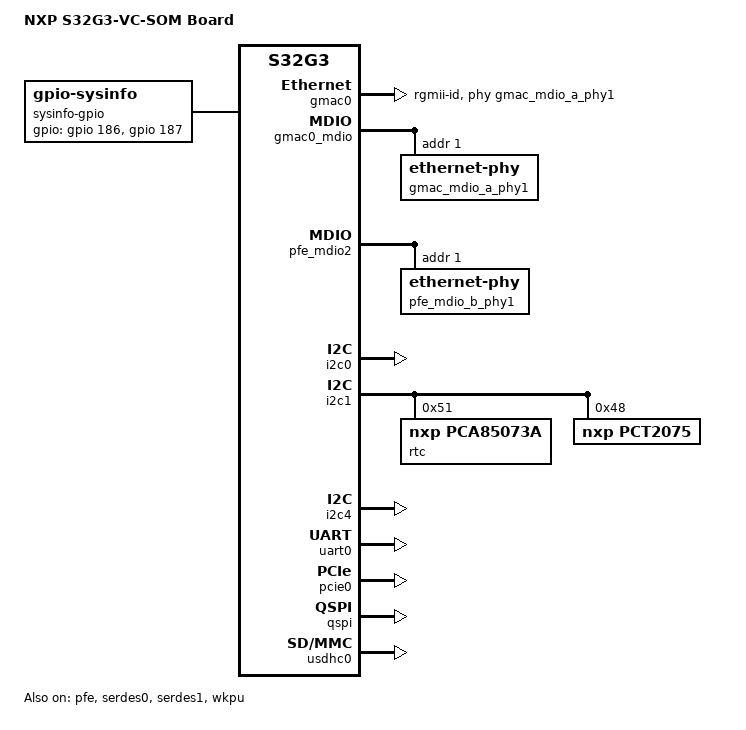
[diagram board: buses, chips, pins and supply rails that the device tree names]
// SPDX-License-Identifier: (GPL-2.0+ OR BSD-3-Clause)
/*
 * Device Tree file for S32G3-VC-SOM board.
 *
 * Copyright 2024 NXP
 */

/dts-v1/;

#include "s32g399a-vc.dtsi"

/ {
	model = "NXP S32G3-VC-SOM Board";
	compatible = "nxp,s32g399a-som", "nxp,s32g3";

	chosen {
		stdout-path = "serial0:115200n8";
	};

	sysinfo-gpio {
		compatible = "gpio-sysinfo";
		gpios = <&gpio 186 GPIO_ACTIVE_HIGH>, <&gpio 187 GPIO_ACTIVE_HIGH>;
		revisions = <0>, <1>, <10>, <11>;
		names = "VC-SOM Revision A", "VC-SOM Revision B",
			"VC-SOM Revision C", "VC-SOM Revision D";
	};
};

&gmac0 {
	status = "okay";
	phy-handle = <&gmac_mdio_a_phy1>;
	phy-mode = "rgmii-id";
};

&gmac0_mdio {
	/* KSZ9131 GMAC */
	gmac_mdio_a_phy1: ethernet-phy@1 {
		reg = <1>;
	};
};

&pfe {
	status = "okay";
};

&pfe_mdio0 {
	/* unused */
	status = "disabled";
};

&pfe_mdio1 {
	/* occupied by GMAC0 */
	status = "disabled";
};

&pfe_mdio2 {
	#address-cells = <1>;
	#size-cells = <0>;

	/* TJA1120 */
	pfe_mdio_b_phy1: ethernet-phy@1 {
		reg = <1>;
	};
};

&pfe_netif0 {
	phy-mode = "sgmii";

	fixed-link {
		speed = <1000>;
		full-duplex;
	};
};

&pfe_netif1 {
	phy-mode = "sgmii";

	fixed-link {
		speed = <1000>;
		full-duplex;
	};
};

&pfe_netif2 {
	phy-mode ="rgmii-id";
	phy-handle = <&pfe_mdio_b_phy1>;

	fixed-link {
		speed = <1000>;
		full-duplex;
	};
};

&i2c0 {
	status = "okay";
};

&i2c1 {
	status = "okay";

	rtc@51 {
		compatible = "nxp,pca85073a";
		reg = <0x51>;
		nxp,no-battery;
	};

	pct2075@48 {
		compatible = "nxp,pct2075";
		reg = <0x48>;
	};
};


&i2c4 {
	status = "okay";
};

&uart0 {
	status = "okay";
};

&pcie0 {
	status = "okay";
};

&qspi {
	status = "okay";
};

&serdes0 {
	status = "okay";
};

&serdes1 {
	status = "okay";
};

&wkpu {
	status = "okay";
};

&usdhc0 {
	status = "okay";
};
